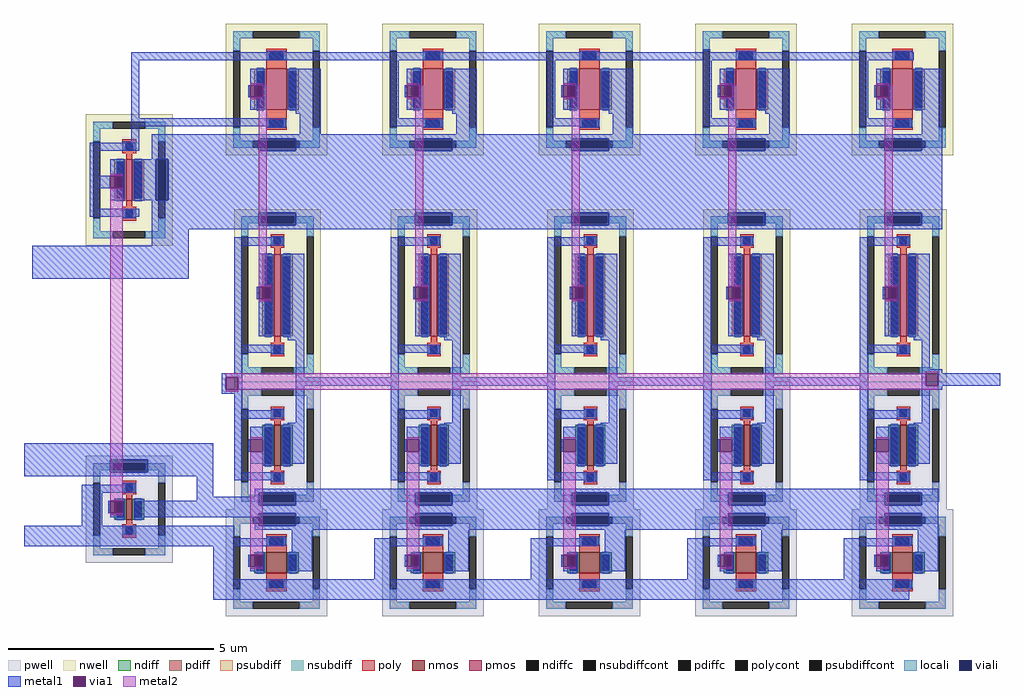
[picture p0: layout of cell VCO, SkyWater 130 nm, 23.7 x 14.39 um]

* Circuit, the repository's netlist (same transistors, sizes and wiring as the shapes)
** sch_path: /home/Rodin/codes/analogic/500pll/VCO.sch
.subckt VCO VDD OUT CON GND
*.PININFO CON:I VDD:I GND:I OUT:O
XM15 net1 OUT net8 GND sky130_fd_pr__nfet_01v8 L=0.15 W=1 nf=1 ad=0.29 as=0.29 pd=2.58 ps=2.58 nrd=0.29 nrs=0.29 sa=0 sb=0 sd=0
+ mult=1
XM7 net2 net1 net9 GND sky130_fd_pr__nfet_01v8 L=0.15 W=1 nf=1 ad=0.29 as=0.29 pd=2.58 ps=2.58 nrd=0.29 nrs=0.29 sa=0 sb=0 sd=0
+ mult=1
XM8 net3 net2 net10 GND sky130_fd_pr__nfet_01v8 L=0.15 W=1 nf=1 ad=0.29 as=0.29 pd=2.58 ps=2.58 nrd=0.29 nrs=0.29 sa=0 sb=0 sd=0
+ mult=1
XM9 net8 CON GND GND sky130_fd_pr__nfet_01v8 L=0.5 W=0.5 nf=1 ad=0.145 as=0.145 pd=1.58 ps=1.58 nrd=0.58 nrs=0.58 sa=0 sb=0 sd=0
+ mult=1
XM10 net9 CON GND GND sky130_fd_pr__nfet_01v8 L=0.5 W=0.5 nf=1 ad=0.145 as=0.145 pd=1.58 ps=1.58 nrd=0.58 nrs=0.58 sa=0 sb=0 sd=0
+ mult=1
XM11 net10 CON GND GND sky130_fd_pr__nfet_01v8 L=0.5 W=0.5 nf=1 ad=0.145 as=0.145 pd=1.58 ps=1.58 nrd=0.58 nrs=0.58 sa=0 sb=0 sd=0
+ mult=1
XM12 net7 CON GND GND sky130_fd_pr__nfet_01v8 L=0.15 W=0.5 nf=1 ad=0.145 as=0.145 pd=1.58 ps=1.58 nrd=0.58 nrs=0.58 sa=0 sb=0 sd=0
+ mult=1
XM14 net3 net2 net6 VDD sky130_fd_pr__pfet_01v8 L=0.15 W=2 nf=1 ad=0.58 as=0.58 pd=4.58 ps=4.58 nrd=0.145 nrs=0.145 sa=0 sb=0 sd=0
+ mult=1
XM1 net2 net1 net5 VDD sky130_fd_pr__pfet_01v8 L=0.15 W=2 nf=1 ad=0.58 as=0.58 pd=4.58 ps=4.58 nrd=0.145 nrs=0.145 sa=0 sb=0 sd=0
+ mult=1
XM2 net1 OUT net4 VDD sky130_fd_pr__pfet_01v8 L=0.15 W=2 nf=1 ad=0.58 as=0.58 pd=4.58 ps=4.58 nrd=0.145 nrs=0.145 sa=0 sb=0 sd=0
+ mult=1
XM3 net4 net7 VDD VDD sky130_fd_pr__pfet_01v8 L=0.5 W=1 nf=1 ad=0.29 as=0.29 pd=2.58 ps=2.58 nrd=0.29 nrs=0.29 sa=0 sb=0 sd=0
+ mult=1
XM4 net5 net7 VDD VDD sky130_fd_pr__pfet_01v8 L=0.5 W=1 nf=1 ad=0.29 as=0.29 pd=2.58 ps=2.58 nrd=0.29 nrs=0.29 sa=0 sb=0 sd=0
+ mult=1
XM5 net6 net7 VDD VDD sky130_fd_pr__pfet_01v8 L=0.5 W=1 nf=1 ad=0.29 as=0.29 pd=2.58 ps=2.58 nrd=0.29 nrs=0.29 sa=0 sb=0 sd=0
+ mult=1
XM6 net7 net7 VDD VDD sky130_fd_pr__pfet_01v8 L=0.15 W=1 nf=1 ad=0.29 as=0.29 pd=2.58 ps=2.58 nrd=0.29 nrs=0.29 sa=0 sb=0 sd=0
+ mult=1
XM13 OUT net11 net13 GND sky130_fd_pr__nfet_01v8 L=0.15 W=1 nf=1 ad=0.29 as=0.29 pd=2.58 ps=2.58 nrd=0.29 nrs=0.29 sa=0 sb=0 sd=0
+ mult=1
XM16 net13 CON GND GND sky130_fd_pr__nfet_01v8 L=0.5 W=0.5 nf=1 ad=0.145 as=0.145 pd=1.58 ps=1.58 nrd=0.58 nrs=0.58 sa=0 sb=0 sd=0
+ mult=1
XM17 OUT net11 net12 VDD sky130_fd_pr__pfet_01v8 L=0.15 W=2 nf=1 ad=0.58 as=0.58 pd=4.58 ps=4.58 nrd=0.145 nrs=0.145 sa=0 sb=0
+ sd=0 mult=1
XM18 net12 net7 VDD VDD sky130_fd_pr__pfet_01v8 L=0.5 W=1 nf=1 ad=0.29 as=0.29 pd=2.58 ps=2.58 nrd=0.29 nrs=0.29 sa=0 sb=0 sd=0
+ mult=1
XM19 net11 net3 net15 GND sky130_fd_pr__nfet_01v8 L=0.15 W=1 nf=1 ad=0.29 as=0.29 pd=2.58 ps=2.58 nrd=0.29 nrs=0.29 sa=0 sb=0 sd=0
+ mult=1
XM20 net15 CON GND GND sky130_fd_pr__nfet_01v8 L=0.5 W=0.5 nf=1 ad=0.145 as=0.145 pd=1.58 ps=1.58 nrd=0.58 nrs=0.58 sa=0 sb=0 sd=0
+ mult=1
XM21 net11 net3 net14 VDD sky130_fd_pr__pfet_01v8 L=0.15 W=2 nf=1 ad=0.58 as=0.58 pd=4.58 ps=4.58 nrd=0.145 nrs=0.145 sa=0 sb=0
+ sd=0 mult=1
XM22 net14 net7 VDD VDD sky130_fd_pr__pfet_01v8 L=0.5 W=1 nf=1 ad=0.29 as=0.29 pd=2.58 ps=2.58 nrd=0.29 nrs=0.29 sa=0 sb=0 sd=0
+ mult=1
.ends

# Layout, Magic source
magic
tech sky130A
magscale 1 2
<< viali >>
rect 2320 1520 2500 1580
rect 3080 1520 3260 1580
rect 3840 1520 4020 1580
rect 4600 1520 4780 1580
rect 5360 1520 5540 1580
rect 1820 1280 1880 1480
rect 2320 1160 2500 1220
rect 3080 1160 3260 1220
rect 3840 1160 4020 1220
rect 4600 1160 4780 1220
rect 5360 1160 5540 1220
rect 1600 -40 1780 20
rect 2320 -200 2500 -140
rect 3080 -200 3260 -140
rect 3840 -200 4020 -140
rect 4600 -200 4780 -140
rect 5360 -200 5540 -140
rect 2320 -300 2500 -240
rect 3080 -300 3260 -240
rect 3840 -300 4020 -240
rect 4600 -300 4780 -240
rect 5360 -300 5540 -240
<< metal1 >>
rect 4480 2000 4514 2014
rect 1700 1960 5500 2000
rect 1700 1680 1740 1960
rect 2280 1840 2340 1920
rect 2270 1780 2280 1840
rect 2340 1780 2350 1840
rect 2280 1720 2340 1780
rect 2460 1720 2620 1920
rect 2500 1700 2620 1720
rect 1700 1640 2440 1680
rect 1700 1560 1740 1640
rect 2520 1600 2620 1700
rect 2960 1680 3000 1960
rect 3040 1840 3100 1920
rect 3030 1780 3040 1840
rect 3100 1780 3110 1840
rect 3040 1720 3100 1780
rect 3220 1720 3380 1920
rect 3260 1700 3380 1720
rect 2960 1640 3200 1680
rect 3280 1600 3380 1700
rect 3720 1680 3760 1960
rect 3800 1840 3860 1920
rect 3790 1780 3800 1840
rect 3860 1780 3870 1840
rect 3800 1720 3860 1780
rect 3980 1720 4140 1920
rect 4020 1700 4140 1720
rect 3720 1640 3960 1680
rect 4040 1600 4140 1700
rect 4480 1680 4520 1960
rect 4560 1840 4620 1920
rect 4550 1780 4560 1840
rect 4620 1780 4630 1840
rect 4560 1720 4620 1780
rect 4740 1720 4900 1920
rect 4780 1700 4900 1720
rect 4480 1640 4720 1680
rect 4800 1600 4900 1700
rect 5240 1680 5280 1960
rect 5320 1840 5380 1920
rect 5310 1780 5320 1840
rect 5380 1780 5390 1840
rect 5320 1720 5380 1780
rect 5500 1720 5640 1920
rect 5240 1640 5480 1680
rect 5540 1600 5640 1720
rect 1500 1520 1740 1560
rect 1800 1580 5640 1600
rect 1800 1520 2320 1580
rect 2500 1520 3080 1580
rect 3260 1520 3840 1580
rect 4020 1520 4600 1580
rect 4780 1520 5360 1580
rect 5540 1520 5640 1580
rect 1500 1400 1540 1520
rect 1800 1480 5640 1520
rect 1600 1400 1660 1480
rect 1500 1340 1600 1400
rect 1660 1340 1670 1400
rect 1500 1240 1540 1340
rect 1600 1280 1660 1340
rect 1720 1280 1820 1480
rect 1880 1280 5640 1480
rect 1500 1200 1740 1240
rect 1800 1220 5640 1280
rect 1800 1160 2320 1220
rect 2500 1160 3080 1220
rect 3260 1160 3840 1220
rect 4020 1160 4600 1220
rect 4780 1160 5360 1220
rect 5540 1160 5640 1220
rect 1800 1140 5640 1160
rect 1800 1060 1980 1140
rect 1220 900 1980 1060
rect 2200 1060 2440 1100
rect 2960 1060 3200 1100
rect 3720 1060 3960 1100
rect 4480 1060 4720 1100
rect 5240 1060 5480 1100
rect 2200 580 2240 1060
rect 2320 860 2380 1020
rect 2310 800 2320 860
rect 2380 800 2390 860
rect 2320 620 2380 800
rect 2440 620 2540 1020
rect 2460 600 2540 620
rect 2200 540 2440 580
rect 2200 440 2240 540
rect 2140 420 2240 440
rect 2140 360 2160 420
rect 2220 360 2240 420
rect 2140 340 2240 360
rect 2200 260 2240 340
rect 2500 420 2540 600
rect 2960 580 3000 1060
rect 3080 860 3140 1020
rect 3070 800 3080 860
rect 3140 800 3150 860
rect 3080 620 3140 800
rect 3200 620 3300 1020
rect 3220 600 3300 620
rect 2960 540 3200 580
rect 2960 420 3000 540
rect 2500 380 3000 420
rect 2200 220 2440 260
rect 1180 20 2100 100
rect 1180 -40 1600 20
rect 1780 -40 2100 20
rect 1180 -60 2100 -40
rect 1460 -140 1720 -100
rect 1460 -300 1560 -140
rect 2020 -160 2100 -60
rect 2200 -40 2240 220
rect 2500 200 2540 380
rect 2460 180 2540 200
rect 2280 120 2380 180
rect 2270 60 2280 120
rect 2340 60 2380 120
rect 2280 0 2380 60
rect 2440 0 2540 180
rect 2960 260 3000 380
rect 3260 420 3300 600
rect 3720 580 3760 1060
rect 3840 860 3900 1020
rect 3830 800 3840 860
rect 3900 800 3910 860
rect 3840 620 3900 800
rect 3960 620 4060 1020
rect 3980 600 4060 620
rect 3720 540 3960 580
rect 3720 420 3760 540
rect 3260 380 3760 420
rect 2960 220 3200 260
rect 2960 -40 3000 220
rect 3260 200 3300 380
rect 3220 180 3300 200
rect 3040 120 3140 180
rect 3030 60 3040 120
rect 3100 60 3140 120
rect 3040 0 3140 60
rect 3200 0 3300 180
rect 3720 260 3760 380
rect 4020 420 4060 600
rect 4480 580 4520 1060
rect 4600 860 4660 1020
rect 4590 800 4600 860
rect 4660 800 4670 860
rect 4600 620 4660 800
rect 4720 620 4820 1020
rect 4740 600 4820 620
rect 4480 540 4720 580
rect 4480 420 4520 540
rect 4020 380 4520 420
rect 3720 220 3960 260
rect 3720 -40 3760 220
rect 4020 200 4060 380
rect 3980 180 4060 200
rect 3800 120 3900 180
rect 3790 60 3800 120
rect 3860 60 3900 120
rect 3800 0 3900 60
rect 3960 0 4060 180
rect 4480 260 4520 380
rect 4780 420 4820 600
rect 5240 580 5280 1060
rect 5360 860 5420 1020
rect 5350 800 5360 860
rect 5420 800 5430 860
rect 5360 620 5420 800
rect 5480 620 5580 1020
rect 5500 600 5580 620
rect 5240 540 5480 580
rect 5240 420 5280 540
rect 4780 380 5280 420
rect 4480 220 4720 260
rect 4480 -40 4520 220
rect 4780 200 4820 380
rect 4740 180 4820 200
rect 4560 120 4660 180
rect 4550 60 4560 120
rect 4620 60 4660 120
rect 4560 0 4660 60
rect 4720 0 4820 180
rect 5240 260 5280 380
rect 5540 460 5580 600
rect 5540 440 5640 460
rect 5540 380 5560 440
rect 5620 380 5920 440
rect 5540 360 5640 380
rect 5240 220 5480 260
rect 5240 -40 5280 220
rect 5540 200 5580 360
rect 5500 180 5580 200
rect 5320 120 5420 180
rect 5310 60 5320 120
rect 5380 60 5420 120
rect 5320 0 5420 60
rect 5480 0 5580 180
rect 2200 -80 2440 -40
rect 2960 -80 3200 -40
rect 3720 -80 3960 -40
rect 4480 -80 4720 -40
rect 5240 -80 5480 -40
rect 2300 -140 5620 -120
rect 2300 -160 2320 -140
rect 2020 -180 2320 -160
rect 1590 -240 1600 -180
rect 1660 -240 1670 -180
rect 1720 -200 2320 -180
rect 2500 -200 3080 -140
rect 3260 -200 3840 -140
rect 4020 -200 4600 -140
rect 4780 -200 5360 -140
rect 5540 -200 5620 -140
rect 1720 -240 5620 -200
rect 1600 -260 1660 -240
rect 1720 -260 2320 -240
rect 2300 -300 2320 -260
rect 2500 -300 3080 -240
rect 3260 -300 3840 -240
rect 4020 -300 4600 -240
rect 4780 -300 5360 -240
rect 5540 -300 5620 -240
rect 1180 -360 2200 -300
rect 2300 -320 5620 -300
rect 1180 -400 2440 -360
rect 2100 -560 2200 -400
rect 2480 -440 2580 -320
rect 2270 -500 2280 -440
rect 2340 -500 2350 -440
rect 2280 -520 2340 -500
rect 2460 -520 2580 -440
rect 2880 -400 3200 -360
rect 2880 -560 2960 -400
rect 3240 -440 3340 -320
rect 3030 -500 3040 -440
rect 3100 -500 3110 -440
rect 3040 -520 3100 -500
rect 3220 -520 3340 -440
rect 3640 -400 3960 -360
rect 3640 -560 3720 -400
rect 4000 -440 4100 -320
rect 3790 -500 3800 -440
rect 3860 -500 3870 -440
rect 3800 -520 3860 -500
rect 3980 -520 4100 -440
rect 4400 -400 4720 -360
rect 4400 -560 4480 -400
rect 4760 -440 4860 -320
rect 4550 -500 4560 -440
rect 4620 -500 4630 -440
rect 4560 -520 4620 -500
rect 4740 -520 4860 -440
rect 5160 -400 5480 -360
rect 5160 -560 5240 -400
rect 5520 -440 5620 -320
rect 5310 -500 5320 -440
rect 5380 -500 5390 -440
rect 5320 -520 5380 -500
rect 5500 -520 5620 -440
rect 2100 -660 5480 -560
<< via1 >>
rect 2280 1780 2340 1840
rect 3040 1780 3100 1840
rect 3800 1780 3860 1840
rect 4560 1780 4620 1840
rect 5320 1780 5380 1840
rect 1600 1340 1660 1400
rect 2320 800 2380 860
rect 2160 360 2220 420
rect 3080 800 3140 860
rect 2280 60 2340 120
rect 3840 800 3900 860
rect 3040 60 3100 120
rect 4600 800 4660 860
rect 3800 60 3860 120
rect 5360 800 5420 860
rect 4560 60 4620 120
rect 5560 380 5620 440
rect 5320 60 5380 120
rect 1600 -240 1660 -180
rect 2280 -500 2340 -440
rect 3040 -500 3100 -440
rect 3800 -500 3860 -440
rect 4560 -500 4620 -440
rect 5320 -500 5380 -440
<< metal2 >>
rect 2280 1840 2340 1850
rect 3040 1840 3100 1850
rect 3800 1840 3860 1850
rect 4560 1840 4620 1850
rect 5320 1840 5380 1850
rect 2340 1780 2360 1840
rect 2280 1770 2360 1780
rect 3100 1780 3120 1840
rect 3040 1770 3120 1780
rect 3860 1780 3880 1840
rect 3800 1770 3880 1780
rect 4620 1780 4640 1840
rect 4560 1770 4640 1780
rect 5380 1780 5400 1840
rect 5320 1770 5400 1780
rect 1600 1400 1660 1410
rect 1600 -180 1660 1340
rect 2320 870 2360 1770
rect 3080 870 3120 1770
rect 3840 870 3880 1770
rect 4600 870 4640 1770
rect 5360 870 5400 1770
rect 2320 860 2380 870
rect 2320 790 2380 800
rect 3080 860 3140 870
rect 3080 790 3140 800
rect 3840 860 3900 870
rect 3840 790 3900 800
rect 4600 860 4660 870
rect 4600 790 4660 800
rect 5360 860 5420 870
rect 5360 790 5420 800
rect 5560 440 5620 450
rect 2160 420 5560 440
rect 2220 380 5560 420
rect 2220 360 5620 380
rect 2160 350 2220 360
rect 1600 -250 1660 -240
rect 2280 120 2340 130
rect 2280 -440 2340 60
rect 2280 -510 2340 -500
rect 3040 120 3100 130
rect 3040 -440 3100 60
rect 3040 -510 3100 -500
rect 3800 120 3860 130
rect 3800 -440 3860 60
rect 3800 -510 3860 -500
rect 4560 120 4620 130
rect 4560 -440 4620 60
rect 4560 -510 4620 -500
rect 5320 120 5380 130
rect 5320 -440 5380 60
rect 5320 -510 5380 -500
use sky130_fd_pr__pfet_01v8_A6MZLZ  XM1
transform 1 0 3171 0 1 819
box -211 -419 211 419
use sky130_fd_pr__pfet_01v8_A6MZLZ  XM2
transform 1 0 2411 0 1 819
box -211 -419 211 419
use sky130_fd_pr__pfet_01v8_T4HHSR  XM3
transform 1 0 2406 0 1 1819
box -246 -319 246 319
use sky130_fd_pr__pfet_01v8_T4HHSR  XM4
transform 1 0 3166 0 1 1819
box -246 -319 246 319
use sky130_fd_pr__pfet_01v8_T4HHSR  XM5
transform 1 0 3926 0 1 1819
box -246 -319 246 319
use sky130_fd_pr__pfet_01v8_TMVPE9  XM6
transform 1 0 1691 0 1 1379
box -211 -319 211 319
use sky130_fd_pr__nfet_01v8_MH3LLV  XM7
transform 1 0 3171 0 1 90
box -211 -310 211 310
use sky130_fd_pr__nfet_01v8_MH3LLV  XM8
transform 1 0 3931 0 1 90
box -211 -310 211 310
use sky130_fd_pr__nfet_01v8_7TC9PA  XM9
transform 1 0 2406 0 1 -480
box -246 -260 246 260
use sky130_fd_pr__nfet_01v8_7TC9PA  XM10
transform 1 0 3166 0 1 -480
box -246 -260 246 260
use sky130_fd_pr__nfet_01v8_7TC9PA  XM11
transform 1 0 3926 0 1 -480
box -246 -260 246 260
use sky130_fd_pr__nfet_01v8_45YRG6  XM12
transform 1 0 1691 0 1 -220
box -211 -260 211 260
use sky130_fd_pr__nfet_01v8_MH3LLV  XM13
transform 1 0 5451 0 1 90
box -211 -310 211 310
use sky130_fd_pr__pfet_01v8_A6MZLZ  XM14
transform 1 0 3931 0 1 819
box -211 -419 211 419
use sky130_fd_pr__nfet_01v8_MH3LLV  XM15
transform 1 0 2411 0 1 90
box -211 -310 211 310
use sky130_fd_pr__nfet_01v8_7TC9PA  XM16
transform 1 0 5446 0 1 -480
box -246 -260 246 260
use sky130_fd_pr__pfet_01v8_A6MZLZ  XM17
transform 1 0 5451 0 1 819
box -211 -419 211 419
use sky130_fd_pr__pfet_01v8_T4HHSR  XM18
transform 1 0 5446 0 1 1819
box -246 -319 246 319
use sky130_fd_pr__nfet_01v8_MH3LLV  XM19
transform 1 0 4691 0 1 90
box -211 -310 211 310
use sky130_fd_pr__nfet_01v8_7TC9PA  XM20
transform 1 0 4686 0 1 -480
box -246 -260 246 260
use sky130_fd_pr__pfet_01v8_A6MZLZ  XM21
transform 1 0 4691 0 1 819
box -211 -419 211 419
use sky130_fd_pr__pfet_01v8_T4HHSR  XM22
transform 1 0 4686 0 1 1819
box -246 -319 246 319
<< end >>

# cell sky130_fd_pr__pfet_01v8_A6MZLZ: kit device sky130_fd_pr__pfet_01v8, w 2.0 l 0.15 m 1 nf 1 diffcov 100 polycov 100 guard 1 glc 1 grc 1 gtc 1 gbc 1 tbcov 100 rlcov 100 topc 1 botc 1 poverlap 0 doverlap 1 lmin 0.15 wmin 0.42 class mosfet compatible {sky130_fd_pr__pfet_01v8 sky130_fd_pr__pfet_01v8_lvt sky130_fd_pr__pfet_01v8_hvt sky130_fd_pr__pfet_g5v0d10v5} full_metal 1 conn_gates 0 viasrc 100 viadrn 100 viagate 100 viagb 0 viagr 0 viagl 0 viagt 0 doports 1 ad 0.58 as 0.58 pd 4.58 ps 4.58 nrd 0.145 nrs 0.145 sa 0 sb 0 sd 0 mult 1

# cell sky130_fd_pr__pfet_01v8_T4HHSR: kit device sky130_fd_pr__pfet_01v8, w 1.0 l 0.5 m 1 nf 1 diffcov 100 polycov 100 guard 1 glc 1 grc 1 gtc 1 gbc 1 tbcov 100 rlcov 100 topc 1 botc 1 poverlap 0 doverlap 1 lmin 0.15 wmin 0.42 class mosfet compatible {sky130_fd_pr__pfet_01v8 sky130_fd_pr__pfet_01v8_lvt sky130_fd_pr__pfet_01v8_hvt sky130_fd_pr__pfet_g5v0d10v5} full_metal 1 conn_gates 0 viasrc 100 viadrn 100 viagate 100 viagb 0 viagr 0 viagl 0 viagt 0 doports 1 ad 0.29 as 0.29 pd 2.58 ps 2.58 nrd 0.29 nrs 0.29 sa 0 sb 0 sd 0 mult 1

# cell sky130_fd_pr__pfet_01v8_TMVPE9: kit device sky130_fd_pr__pfet_01v8, w 1.0 l 0.15 m 1 nf 1 diffcov 100 polycov 100 guard 1 glc 1 grc 1 gtc 1 gbc 1 tbcov 100 rlcov 100 topc 1 botc 1 poverlap 0 doverlap 1 lmin 0.15 wmin 0.42 class mosfet compatible {sky130_fd_pr__pfet_01v8 sky130_fd_pr__pfet_01v8_lvt sky130_fd_pr__pfet_01v8_hvt sky130_fd_pr__pfet_g5v0d10v5} full_metal 1 conn_gates 0 viasrc 100 viadrn 100 viagate 100 viagb 0 viagr 0 viagl 0 viagt 0 doports 1 ad 0.29 as 0.29 pd 2.58 ps 2.58 nrd 0.29 nrs 0.29 sa 0 sb 0 sd 0 mult 1

# cell sky130_fd_pr__nfet_01v8_MH3LLV: kit device sky130_fd_pr__nfet_01v8, w 1.0 l 0.15 m 1 nf 1 diffcov 100 polycov 100 guard 1 glc 1 grc 1 gtc 1 gbc 1 tbcov 100 rlcov 100 topc 1 botc 1 poverlap 0 doverlap 1 lmin 0.15 wmin 0.42 class mosfet compatible {sky130_fd_pr__nfet_01v8 sky130_fd_pr__nfet_01v8_lvt sky130_fd_bs_flash__special_sonosfet_star sky130_fd_pr__nfet_g5v0d10v5 sky130_fd_pr__nfet_05v0_nvt sky130_fd_pr__nfet_03v3_nvt} full_metal 1 conn_gates 0 viasrc 100 viadrn 100 viagate 100 viagb 0 viagr 0 viagl 0 viagt 0 doports 1 ad 0.29 as 0.29 pd 2.58 ps 2.58 nrd 0.29 nrs 0.29 sa 0 sb 0 sd 0 mult 1

# cell sky130_fd_pr__nfet_01v8_7TC9PA: kit device sky130_fd_pr__nfet_01v8, w 0.5 l 0.5 m 1 nf 1 diffcov 100 polycov 100 guard 1 glc 1 grc 1 gtc 1 gbc 1 tbcov 100 rlcov 100 topc 1 botc 1 poverlap 0 doverlap 1 lmin 0.15 wmin 0.42 class mosfet compatible {sky130_fd_pr__nfet_01v8 sky130_fd_pr__nfet_01v8_lvt sky130_fd_bs_flash__special_sonosfet_star sky130_fd_pr__nfet_g5v0d10v5 sky130_fd_pr__nfet_05v0_nvt sky130_fd_pr__nfet_03v3_nvt} full_metal 1 conn_gates 0 viasrc 100 viadrn 100 viagate 100 viagb 0 viagr 0 viagl 0 viagt 0 doports 1 ad 0.145 as 0.145 pd 1.58 ps 1.58 nrd 0.58 nrs 0.58 sa 0 sb 0 sd 0 mult 1

# cell sky130_fd_pr__nfet_01v8_45YRG6: kit device sky130_fd_pr__nfet_01v8, w 0.5 l 0.15 m 1 nf 1 diffcov 100 polycov 100 guard 1 glc 1 grc 1 gtc 1 gbc 1 tbcov 100 rlcov 100 topc 1 botc 1 poverlap 0 doverlap 1 lmin 0.15 wmin 0.42 class mosfet compatible {sky130_fd_pr__nfet_01v8 sky130_fd_pr__nfet_01v8_lvt sky130_fd_bs_flash__special_sonosfet_star sky130_fd_pr__nfet_g5v0d10v5 sky130_fd_pr__nfet_05v0_nvt sky130_fd_pr__nfet_03v3_nvt} full_metal 1 conn_gates 0 viasrc 100 viadrn 100 viagate 100 viagb 0 viagr 0 viagl 0 viagt 0 doports 1 ad 0.145 as 0.145 pd 1.58 ps 1.58 nrd 0.58 nrs 0.58 sa 0 sb 0 sd 0 mult 1
